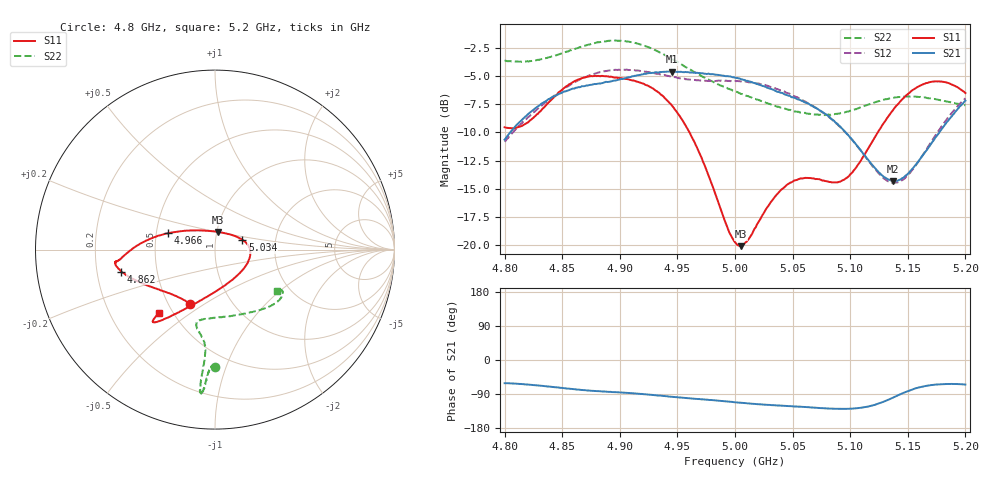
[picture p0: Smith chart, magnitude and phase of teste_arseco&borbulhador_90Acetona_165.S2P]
! Network Analyzer HP8722D
! Hewlett-Packard
! Data name: Linha & Wilkinson
! Saver's name: Rodrigo Anjos
! Comments: Teste da utilização de aquisição
! continua pelo VNA HP8722D
! Time and date: 17/4/2025 12:25
!  Frequency  S11  S21  S12  S22
# HZ  S  MA R 50
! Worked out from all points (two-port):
!   401 points, 4.8 GHz to 5.2 GHz, reference 50 ohm
!   highest |S21| = -4.62 dB at 4.945 GHz (marker M1); lowest = -14.3 dB at 5.137 GHz (marker M2)
!   |S21| within 3 dB of the highest: 4.83 GHz to 5.066 GHz (235.7 MHz wide, 4.76 % of centre); 5.196174 GHz to end of sweep
!   lowest |S11| = -20.1 dB at 5.005 GHz (marker M3), VSWR 1.22, Z = 50.6 + j10 ohm
!   |S11| at or under -10 dB: 4.96 GHz to 5.124 GHz (163.5 MHz wide, 3.24 % of centre)
!   |S22| runs from -8.5 to -1.9 dB; largest |S21 - S12| = 0.88
!   S11 on the Smith chart (normalised r, x): 4.8 GHz: 0.64, -0.44; 4.862 GHz: 0.31, -0.10; 4.966 GHz: 0.58, +0.11; 5.034 GHz: 1.35, +0.15; 5.2 GHz: 0.42, -0.38
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4.8e9  0.333 -114.3  0.2934 -61.3  0.2874 -175.4  0.6561 -90.1
4.819e9  0.3472 -134.4  0.3746 -64.5  0.3624 -174.1  0.6517 -91.7
4.862e9  0.5357 -166.8  0.4982 -77.5  0.531 -177.5  0.743 -94.1
4.867e9  0.5486 -168.8  0.5057 -79.2  0.5471 -178.4  0.7567 -94.2
4.901e9  0.5493 -173.3  0.545 -85.7  0.5979 174.9  0.8033 -95.7
4.934e9  0.4735 -179.4  0.5828 -93.9  0.5739 171.5  0.7158 -96.1
4.945e9  0.4172 175.4  0.5874 -96.9  0.5572 171.7  0.6691 -95.9
4.966e9  0.2772 160.9  0.5789 -102.3  0.538 173.5  0.5784 -95.4
5e9  0.1032 97.9  0.5519 -111.6  0.534 175.9  0.4799 -99.6
5.005e9  0.09923 80.7  0.544 -112.9  0.5306 175.8  0.4681 -100.8
5.013e9  0.1087 55.8  0.53 -114.9  0.5262 175.5  0.4526 -102.4
5.034e9  0.1625 19.6  0.4859 -119.3  0.4962 174.5  0.4142 -103.7
5.05e9  0.1914 3.5  0.4527 -122.4  0.4601 174.0  0.3943 -99.7
5.067e9  0.198 -14.6  0.4146 -125.3  0.4149 173.3  0.3805 -90.9
5.087e9  0.1901 -46.9  0.3502 -128.9  0.3486 173.5  0.3814 -75.5
5.097e9  0.1987 -67.5  0.3116 -128.7  0.3123 174.5  0.3902 -67.3
5.134e9  0.3769 -117.4  0.1952 -103.6  0.1912 -156.5  0.4465 -43.1
5.137e9  0.3949 -119.4  0.1926 -99.6  0.1901 -151.8  0.4497 -41.9
5.149e9  0.4621 -124.8  0.205 -83.3  0.2021 -133.2  0.4551 -37.2
5.168e9  0.5253 -129.5  0.2711 -67.4  0.275 -113.7  0.4471 -32.6
5.184e9  0.5244 -131.1  0.3515 -63.3  0.3622 -107.5  0.4331 -31.3
5.2e9  0.4721 -131.5  0.4362 -64.8  0.4472 -106.9  0.4157 -33.8
